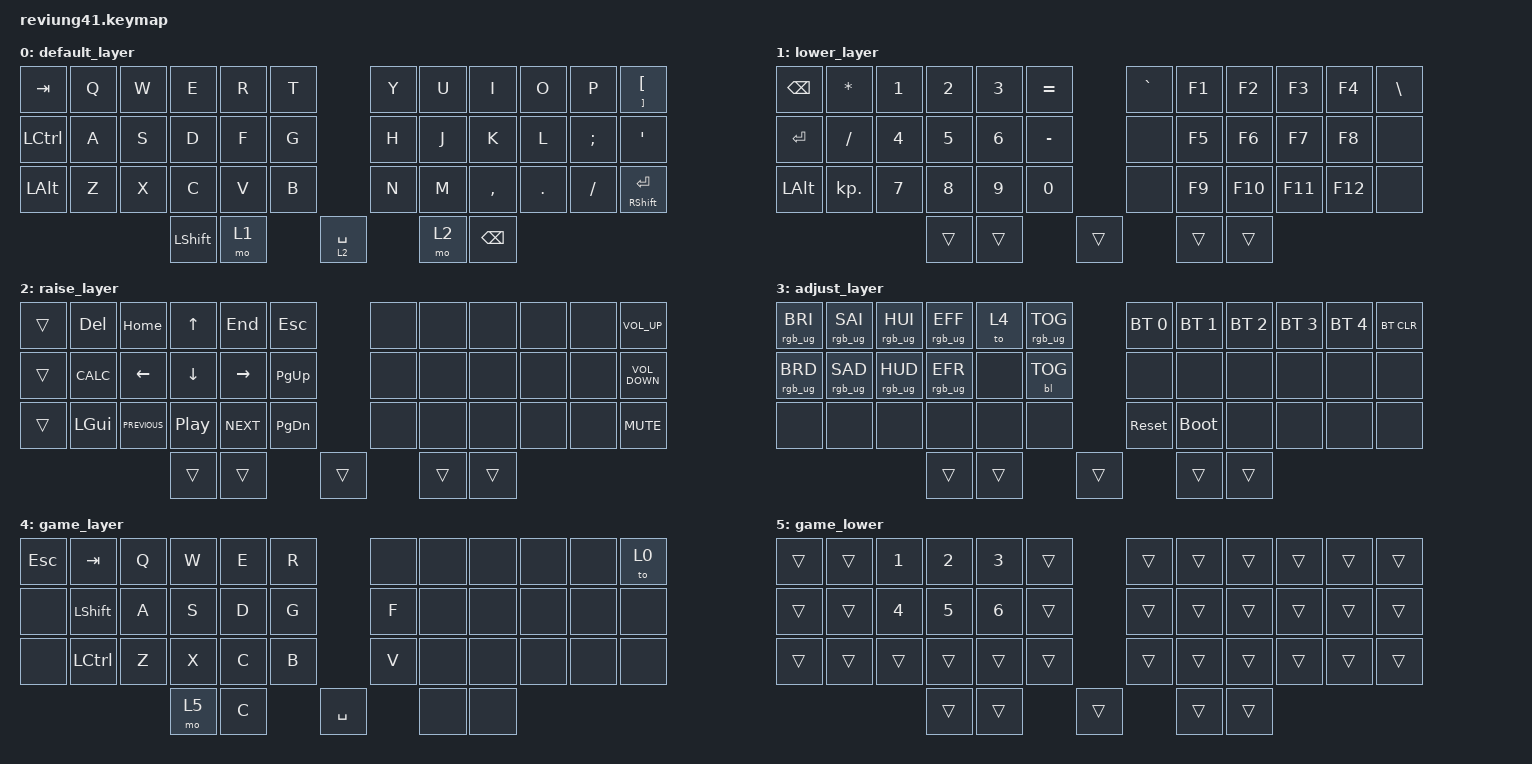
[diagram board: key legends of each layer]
/*
 * Copyright (c) 2020 The ZMK Contributors
 *
 * SPDX-License-Identifier: MIT
 */

#include <behaviors.dtsi>
#include <dt-bindings/zmk/bt.h>
#include <dt-bindings/zmk/keys.h>

&mt {
    tapping-term-ms = <300>;
    flavor = "tap-preferred";
};

/ {
    combos {
        compatible = "zmk,combos";

        combo_prntscrn {
            bindings = <&kp PRINTSCREEN>;
            key-positions = <25 26 27>;
        };

        caps_toggle {
            bindings = <&kt CAPSLOCK>;
            key-positions = <11 10>;
        };

        gui {
            bindings = <&kp LEFT_GUI>;
            key-positions = <36 37>;
        };
    };

    keymap {
        compatible = "zmk,keymap";

        default_layer {
            // -------------------------------------------------------------------------------------
            // |  TAB |  Q  |  W  |  E  |  R  |  T  |   |  Y  |  U   |  I  |  O  |  P  |   BKSP    |
            // | CTRL |  A  |  S  |  D  |  F  |  G  |   |  H  |  J   |  K  |  L  |  ;  |    '      |
            // | SHFT |  Z  |  X  |  C  |  V  |  B  |   |  N  |  M   |  ,  |  .  |  /  | SHFT(RET) |
            //                         | ALT | LWR | SPC | RSE  | ALT |

            bindings = <
&kp TAB    &kp Q  &kp W  &kp E       &kp R  &kp T               &kp Y  &kp U  &kp I          &kp O    &kp P     &mt RIGHT_BRACKET LEFT_BRACKET
&kp LCTRL  &kp A  &kp S  &kp D       &kp F  &kp G               &kp H  &kp J  &kp K          &kp L    &kp SEMI  &kp SQT
&kp LALT   &kp Z  &kp X  &kp C       &kp V  &kp B               &kp N  &kp M  &kp COMMA      &kp DOT  &kp FSLH  &mt RSHFT RET
                         &kp LSHIFT  &mo 1         &lt 2 SPACE         &mo 2  &kp BACKSPACE
            >;
        };

        lower_layer {
            // ------------------------------------------------------------------------------------
            // |    |  !  |  @  |  #  |  $  |  %  |   |  ^  |  &  |  *  |  (  |  )  |      DEL    |
            // |    |  _  |  +  |  {  |  }  | "|" |   | LFT | DWN |  UP | RGT |  `  |       ~     |
            // |    | ESC | GUI | ALT | CAPS|  "  |   | HOME| END | PGUP| PGDN| PRSC| SHFT(SPACE) |
            //                       |     |     | RET | ADJ |     |

            bindings = <
&kp BACKSPACE  &kp ASTERISK  &kp N1  &kp N2  &kp N3  &kp EQUAL          &kp GRAVE  &kp F1  &kp F2   &kp F3   &kp F4   &kp BACKSLASH
&kp ENTER      &kp SLASH     &kp N4  &kp N5  &kp N6  &kp MINUS          &none      &kp F5  &kp F6   &kp F7   &kp F8   &none
&kp LEFT_ALT   &kp KP_DOT    &kp N7  &kp N8  &kp N9  &kp N0             &none      &kp F9  &kp F10  &kp F11  &kp F12  &none
                                     &trans  &trans             &trans             &trans  &trans
            >;
        };

        raise_layer {
            bindings = <
&trans  &kp DELETE  &kp HOME        &kp UP_ARROW      &kp END     &kp ESC                &none  &none   &none   &none  &none  &kp C_VOL_UP
&trans  &kp K_CALC  &kp LEFT        &kp DOWN          &kp RIGHT   &kp PAGE_UP            &none  &none   &none   &none  &none  &kp C_VOLUME_DOWN
&trans  &kp LGUI    &kp C_PREVIOUS  &kp C_PLAY_PAUSE  &kp C_NEXT  &kp PAGE_DOWN          &none  &none   &none   &none  &none  &kp K_MUTE
                                    &trans            &trans                     &trans         &trans  &trans
            >;
        };

        adjust_layer {
            // -----------------------------------------------------------------------------------------
            // | RGB BRI+ | RGB SAT+ | RGB HUE+ | RGB ANI+ |    | RGB TOG |   |  BT1  | BT2 | BT3 | BT4 | BT5 | BT CLR |
            // | RGB BRI- | RGB SAT- | RGB HUE- | RGB ANI- |    |         |   |       |     |     |     |     |        |
            // |          |          |          |          |    |         |   | RESET |     |     |     |     |        |
            //                                              |     |     |     |     |     |

            bindings = <
&rgb_ug RGB_BRI  &rgb_ug RGB_SAI  &rgb_ug RGB_HUI  &rgb_ug RGB_EFF  &to 4   &rgb_ug RGB_TOG          &bt BT_SEL 0  &bt BT_SEL 1  &bt BT_SEL 2  &bt BT_SEL 3  &bt BT_SEL 4  &bt BT_CLR
&rgb_ug RGB_BRD  &rgb_ug RGB_SAD  &rgb_ug RGB_HUD  &rgb_ug RGB_EFR  &none   &bl BL_TOG               &none         &none         &none         &none         &none         &none
&none            &none            &none            &none            &none   &none                    &sys_reset    &bootloader   &none         &none         &none         &none
                                                   &trans           &trans                   &trans                &trans        &trans
            >;
        };

        game_layer {
            bindings = <
&kp ESC  &kp TAB    &kp Q  &kp W  &kp E  &kp R             &none  &none  &none  &none  &none  &to 0
&none    &kp LSHFT  &kp A  &kp S  &kp D  &kp G             &kp F  &none  &none  &none  &none  &none
&none    &kp LCTRL  &kp Z  &kp X  &kp C  &kp B             &kp V  &none  &none  &none  &none  &none
                           &mo 5  &kp C         &kp SPACE         &none  &none
            >;
        };

        game_lower {
            bindings = <
&trans  &trans  &kp N1  &kp N2  &kp N3  &trans          &trans  &trans  &trans  &trans  &trans  &trans
&trans  &trans  &kp N4  &kp N5  &kp N6  &trans          &trans  &trans  &trans  &trans  &trans  &trans
&trans  &trans  &trans  &trans  &trans  &trans          &trans  &trans  &trans  &trans  &trans  &trans
                        &trans  &trans          &trans          &trans  &trans
            >;
        };
    };

    conditional_layers {
        compatible = "zmk,conditional-layers";

        adgust {
            if-layers = <1 2>;
            then-layer = <3>;
        };
    };
};
